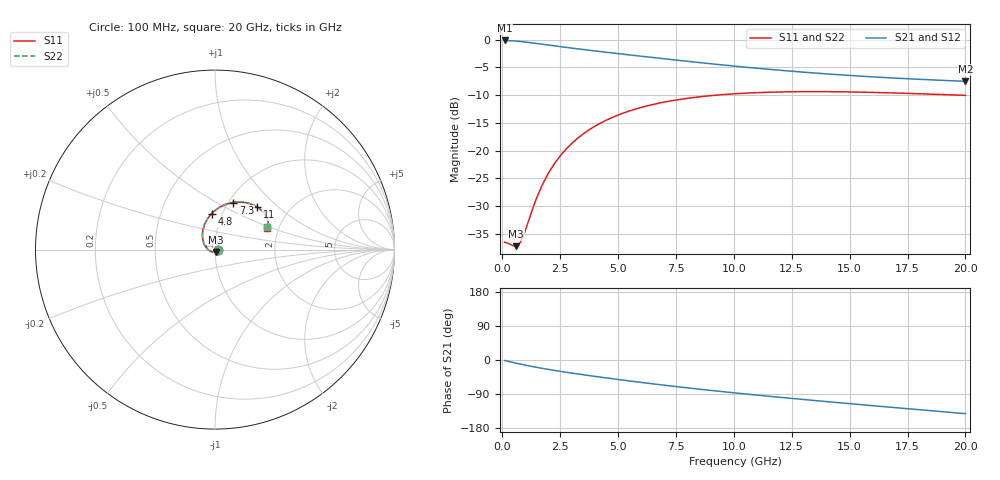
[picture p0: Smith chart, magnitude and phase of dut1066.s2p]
! Touchstone file exported from HFSS 2024.1.0
!  File:  C:/UserFiles/LocalFiles/RDL_TSV_Batchsim/temp_RDL_TSV_1066_1780092004.aedt
!  Generated:  06:14:28 AM May 30, 2026
!  Design:  RDL_TSV
!  Project:  temp_RDL_TSV_1066_1780092004
!  Setup:  Setup1
!  Solution:  Sweep
! Variables:
!  dtsv = 12.65um
!  hbump = 3um
!  htsv = 70.81um
!  ldown = 261.4um
!  lrdl = 243.49um
!  p = 40
!  p1 = 54.89um
!  rhole = 10um
!  subl = 1758.16um
!  t = 450um
!  tdown = 2.29um
!  trdl = 2.25um
!  viad = 10um
!  wdown = 14.28um
!  wrdl = 25.63um
!  xbump = 18um
# GHz S MA R 50.000000
! Terminal data exported
! Port[1] = TM1_1_T1
! Port[2] = TM1_4_T1
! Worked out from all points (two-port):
!   200 points, 100 MHz to 20 GHz, reference 50 ohm
!   highest |S21| = -0.14 dB at 100 MHz (marker M1); lowest = -7.5 dB at 20 GHz (marker M2)
!   |S21| within 3 dB of the highest: start of sweep to 6.335 GHz
!   lowest |S11| = -37.2 dB at 600 MHz (marker M3), VSWR 1.03, Z = 50.4 - j1.32 ohm
!   |S11| at or under -10 dB: start of sweep to 9.22 GHz; 19.77 GHz to end of sweep
!   |S22| runs from -37.2 to -9.3 dB; largest |S21 - S12| = 1.5e-14
!   S11 on the Smith chart (normalised r, x): 100 MHz: 1.03, -0.01; 4.8 GHz: 0.89, +0.37; 7.3 GHz: 1.05, +0.60; 11 GHz: 1.39, +0.74; 20 GHz: 1.74, +0.47
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0.1  0.01493 -9.4  0.9845 -1.5  0.9845 -1.5  0.01493 -9.4
! Gamma 0 0 0 0
! Port Impedance 50 0 50 0
0.6  0.01378 -72.1  0.9714 -8.5  0.9714 -8.5  0.01376 -72.2
0.7  0.01417 -88.6  0.9673 -9.8  0.9673 -9.8  0.01415 -88.7
0.8  0.01517 -105.1  0.9627 -11.1  0.9627 -11.1  0.01516 -105.4
0.9  0.01687 -120.7  0.9579 -12.4  0.9579 -12.4  0.01687 -120.9
1.5  0.03814 -179.3  0.9242 -19.6  0.9242 -19.6  0.03828 -179.4
1.7  0.04765 169.6  0.9123 -21.8  0.9123 -21.8  0.04784 169.4
2  0.06293 156.3  0.8945 -24.9  0.8945 -24.9  0.06319 156.2
2.3  0.07883 145.7  0.8772 -28.0  0.8772 -28.0  0.07917 145.6
2.7  0.1003 134.0  0.8552 -31.8  0.8552 -31.8  0.1007 134.0
3.5  0.1419 116.1  0.8151 -39.0  0.8151 -39.0  0.1425 116.1
4.1  0.1708 105.5  0.7876 -44.1  0.7876 -44.1  0.1715 105.5
4.8  0.2013 95.2  0.7576 -49.8  0.7576 -49.8  0.2023 95.3
5.7  0.2353 84.2  0.7213 -56.9  0.7213 -56.9  0.2364 84.3
6.8  0.2689 73.2  0.6799 -65.1  0.6799 -65.1  0.2702 73.2
7.3  0.2814 68.8  0.6622 -68.7  0.6622 -68.7  0.2828 68.9
8.7  0.3087 58.3  0.6162 -78.3  0.6162 -78.3  0.3103 58.4
10.1  0.3262 49.8  0.576 -87.2  0.576 -87.2  0.3279 49.9
11  0.3333 45.2  0.5531 -92.7  0.5531 -92.7  0.335 45.3
13.4  0.3404 35.5  0.5026 -106.5  0.5026 -106.5  0.3422 35.6
16.7  0.3322 26.9  0.4538 -124.3  0.4538 -124.3  0.3339 27.0
20  0.315 22.9  0.4218 -141.7  0.4218 -141.7  0.3167 23.1
